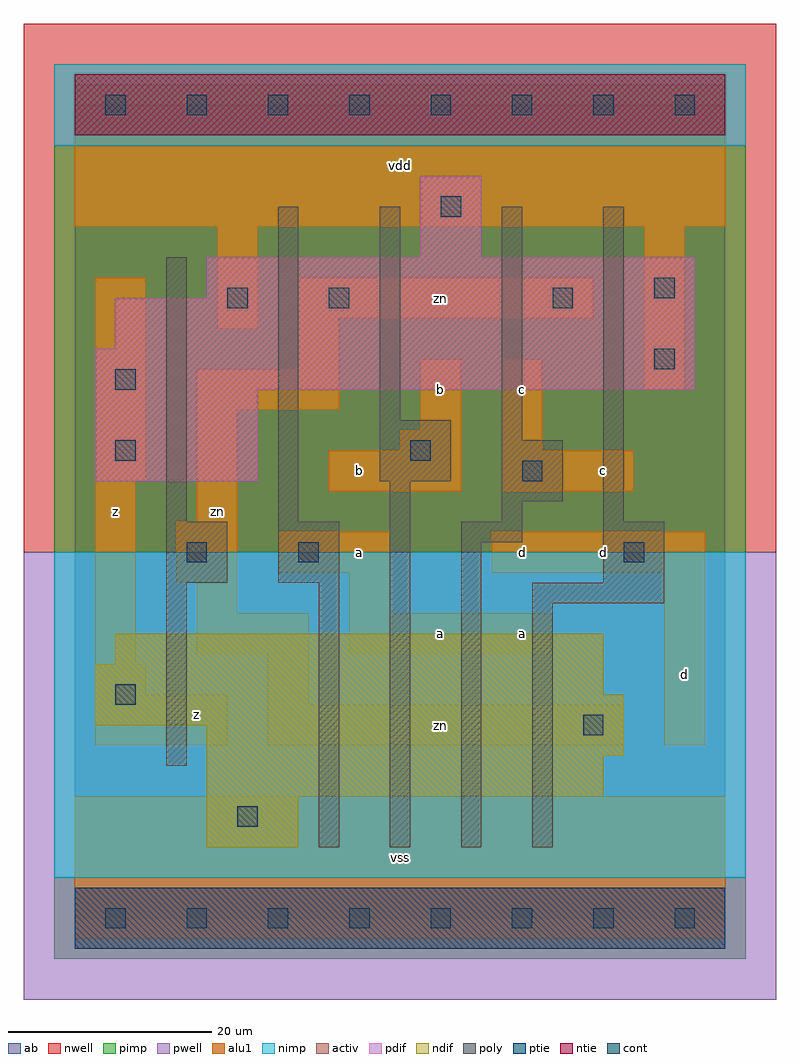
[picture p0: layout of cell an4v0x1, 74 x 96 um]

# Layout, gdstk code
import gdstk
lib = gdstk.Library(unit=1e-6, precision=1e-09)
def R(c, l, rs):  # rectangles x0, y0, x1, y1
    for r in rs: c.add(gdstk.rectangle(r[:2], r[2:], *l))
def A(c, l, x, y, w, h, nx, ny, dx, dy):  # array of equal rectangles
    R(c, l, [(x+i*dx, y+j*dy, x+i*dx+w, y+j*dy+h) for i in range(nx) for j in range(ny)])
ndif = (3, 0)
pdif = (4, 0)
ntie = (5, 0)
ptie = (6, 0)
cont = (25, 0)
pwell = (41, 0)
nwell = (42, 0)
activ = (43, 0)
pimp = (44, 0)
nimp = (45, 0)
poly = (46, 0)
alu1 = (49, 0)
ab = (63, 0)

an4v0x1 = lib.new_cell('an4v0x1')
R(an4v0x1, ndif, [(13,7,22,12), (13,12,52,16), (13,16,54,19), (2,19,54,22), (2,22,52,25), (4,25,52,28)])
R(an4v0x1, pdif, [(2,43,18,52), (2,52,61,56), (4,56,61,61), (13,61,61,65), (34,65,40,73)])
R(an4v0x1, ntie, [(0,77,64,83)])
R(an4v0x1, ptie, [(0,-3,64,3)])
A(an4v0x1, cont, 3, -1, 2, 2, 8, 2, 8, 80)
R(an4v0x1, cont, [(16,9,18,11), (50,18,52,20), (4,21,6,23), (11,35,13,37), (22,35,24,37), (54,35,56,37), (44,43,46,45), (4,45,6,47), (33,45,35,47), (4,52,6,54), (57,54,59,56), (15,60,17,62), (25,60,27,62), (47,60,49,62), (57,61,59,63), (36,69,38,71)])
R(an4v0x1, pwell, [(-5,-8,69,36)])
R(an4v0x1, nwell, [(-5,36,69,88)])
R(an4v0x1, activ, [(0,-3,64,3), (13,7,22,12), (13,12,52,16), (13,16,54,19), (2,19,54,22), (2,22,52,25), (4,25,52,28), (2,43,18,52), (2,52,61,56), (4,56,61,61), (13,61,61,65), (34,65,40,73), (0,77,64,83)])
R(an4v0x1, pimp, [(-2,-4,66,4), (-2,36,66,76)])
R(an4v0x1, nimp, [(-2,4,66,36), (-2,76,66,84)])
R(an4v0x1, poly, [(24,7,26,33), (31,7,33,43), (38,7,40,37), (45,7,47,31), (9,15,11,33), (45,31,58,33), (9,33,15,39), (20,33,26,39), (52,33,58,39), (38,37,44,39), (9,39,11,65), (20,39,22,70), (42,39,44,41), (52,39,54,70), (42,41,48,47), (30,43,37,49), (42,47,44,70), (30,49,32,70)])
R(an4v0x1, alu1, [(0,-2,64,12), (2,17,15,22), (19,17,54,21), (58,17,62,34), (19,21,23,26), (2,22,7,25), (2,25,6,43), (12,26,23,30), (27,26,47,30), (12,30,16,33), (27,30,31,34), (10,33,16,39), (20,34,31,38), (41,34,62,38), (12,39,16,50), (25,42,38,46), (42,42,55,46), (2,43,7,63), (32,46,38,48), (42,46,46,55), (34,48,38,55), (12,50,26,54), (56,52,60,68), (22,54,26,59), (14,58,18,68), (22,59,51,63), (0,68,64,82)])
R(an4v0x1, ab, [(0,0,64,80)])
an4v0x1.add(gdstk.Label('zn', (14,40), layer=49, texttype=0))
an4v0x1.add(gdstk.Label('zn', (36,19), layer=49, texttype=0))
an4v0x1.add(gdstk.Label('zn', (36,61), layer=49, texttype=0))
an4v0x1.add(gdstk.Label('z', (12,20), layer=49, texttype=0))
an4v0x1.add(gdstk.Label('z', (4,40), layer=49, texttype=0))
an4v0x1.add(gdstk.Label('a', (28,36), layer=49, texttype=0))
an4v0x1.add(gdstk.Label('b', (28,44), layer=49, texttype=0))
an4v0x1.add(gdstk.Label('vss', (32,6), layer=49, texttype=0))
an4v0x1.add(gdstk.Label('a', (36,28), layer=49, texttype=0))
an4v0x1.add(gdstk.Label('a', (44,28), layer=49, texttype=0))
an4v0x1.add(gdstk.Label('d', (44,36), layer=49, texttype=0))
an4v0x1.add(gdstk.Label('b', (36,52), layer=49, texttype=0))
an4v0x1.add(gdstk.Label('c', (44,52), layer=49, texttype=0))
an4v0x1.add(gdstk.Label('vdd', (32,74), layer=49, texttype=0))
an4v0x1.add(gdstk.Label('d', (52,36), layer=49, texttype=0))
an4v0x1.add(gdstk.Label('d', (60,24), layer=49, texttype=0))
an4v0x1.add(gdstk.Label('c', (52,44), layer=49, texttype=0))

lib.write_gds('an4v0x1.gds')
